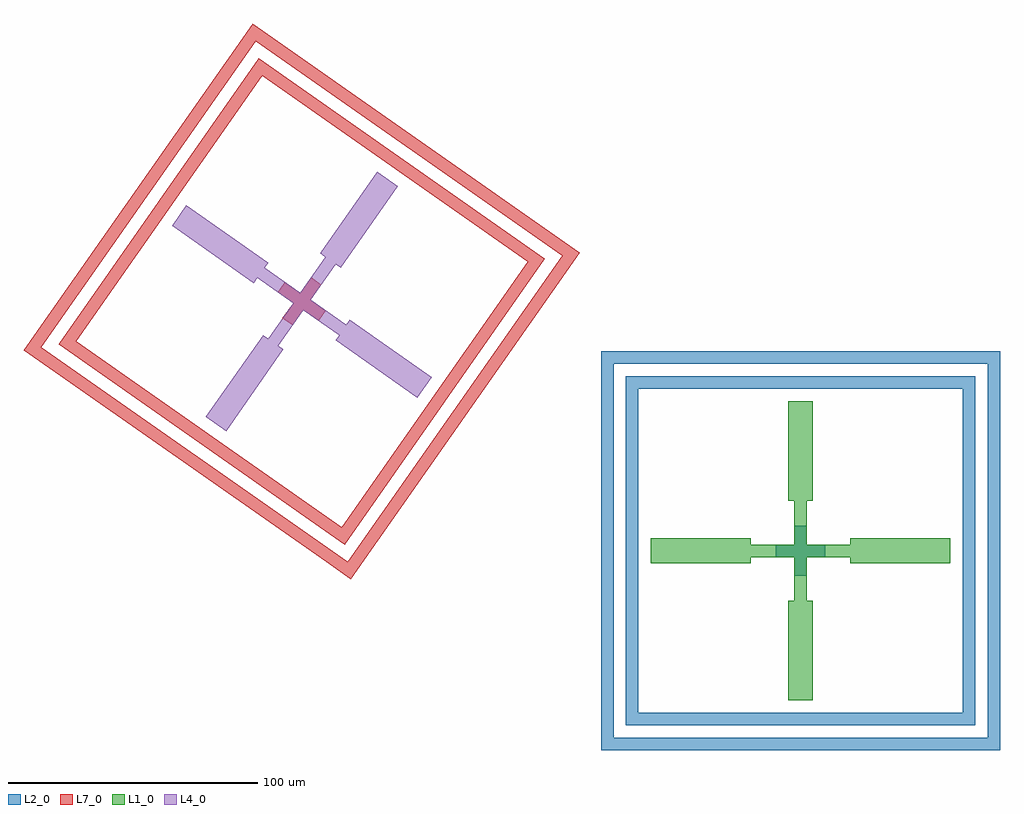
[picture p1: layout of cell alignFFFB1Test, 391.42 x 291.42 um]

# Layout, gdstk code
import gdstk
lib = gdstk.Library(unit=1e-6, precision=1e-09)
def P(c, l, *ps):  # polygons
    for p in ps: c.add(gdstk.Polygon(p, *l))
L1_0 = (1, 0)
L2_0 = (2, 0)
L4_0 = (4, 0)
L7_0 = (7, 0)

alignfffb1test = lib.new_cell('alignFFFB1Test')
P(alignfffb1test, L1_0, [(-5,-60),(-5,-20),(-2.5,-20),(-2.5,-2.5),(-20,-2.5),(-20,-5),(-60,-5),(-60,5),(-20,5),(-20,2.5),(-2.5,2.5),(-2.5,20),(-5,20),(-5,60),(5,60),(5,20),(2.5,20),(2.5,2.5),(20,2.5),(20,5),(60,5),(60,-5),(20,-5),(20,-2.5),(2.5,-2.5),(2.5,-20),(5,-20),(5,-60)])
P(alignfffb1test, L2_0, [(-2.5,-10),(-2.5,-2.5),(-10,-2.5),(-10,2.5),(-2.5,2.5),(-2.5,10),(2.5,10),(2.5,2.5),(10,2.5),(10,-2.5),(2.5,-2.5),(2.5,-10)],
  [(-80,-80),(-80,-75),(75,-75),(75,75),(-75,75),(-75,-75),(-80,-75),(-80,80),(80,80),(80,-80)],
  [(-70,-70),(-70,-65),(65,-65),(65,65),(-65,65),(-65,-65),(-70,-65),(-70,70),(70,70),(70,-70)])
P(alignfffb1test, L4_0, [(-230.319,47.983),(-238.51,53.719),(-215.567,86.485),(-213.519,85.051),(-203.482,99.386),(-217.817,109.424),(-219.251,107.376),(-252.017,130.319),(-246.281,138.51),(-213.515,115.567),(-214.949,113.519),(-200.614,103.482),(-190.576,117.817),(-192.624,119.251),(-169.681,152.017),(-161.49,146.281),(-184.433,113.515),(-186.481,114.949),(-196.518,100.614),(-182.183,90.576),(-180.749,92.624),(-147.983,69.681),(-153.719,61.49),(-186.485,84.433),(-185.051,86.481),(-199.386,96.518),(-209.424,82.183),(-207.376,80.749)])
P(alignfffb1test, L7_0, [(-203.688,90.375),(-207.784,93.242),(-203.482,99.386),(-209.625,103.688),(-206.758,107.784),(-200.614,103.482),(-196.312,109.625),(-192.216,106.758),(-196.518,100.614),(-190.375,96.312),(-193.242,92.216),(-199.386,96.518)],
  [(-180.354,-11.418),(-190.299,-4.455),(-181.582,-4.455),(-95.545,118.418),(-218.418,204.455),(-304.455,81.582),(-181.582,-4.455),(-190.299,-4.455),(-311.418,80.354),(-219.646,211.418),(-88.582,119.646)],
  [(-182.81,2.509),(-192.755,9.473),(-184.038,9.473),(-109.473,115.962),(-215.962,190.527),(-290.527,84.038),(-184.038,9.473),(-192.755,9.473),(-297.491,82.81),(-217.19,197.491),(-102.509,117.19)])

lib.write_gds('alignFFFB1Test.gds')
